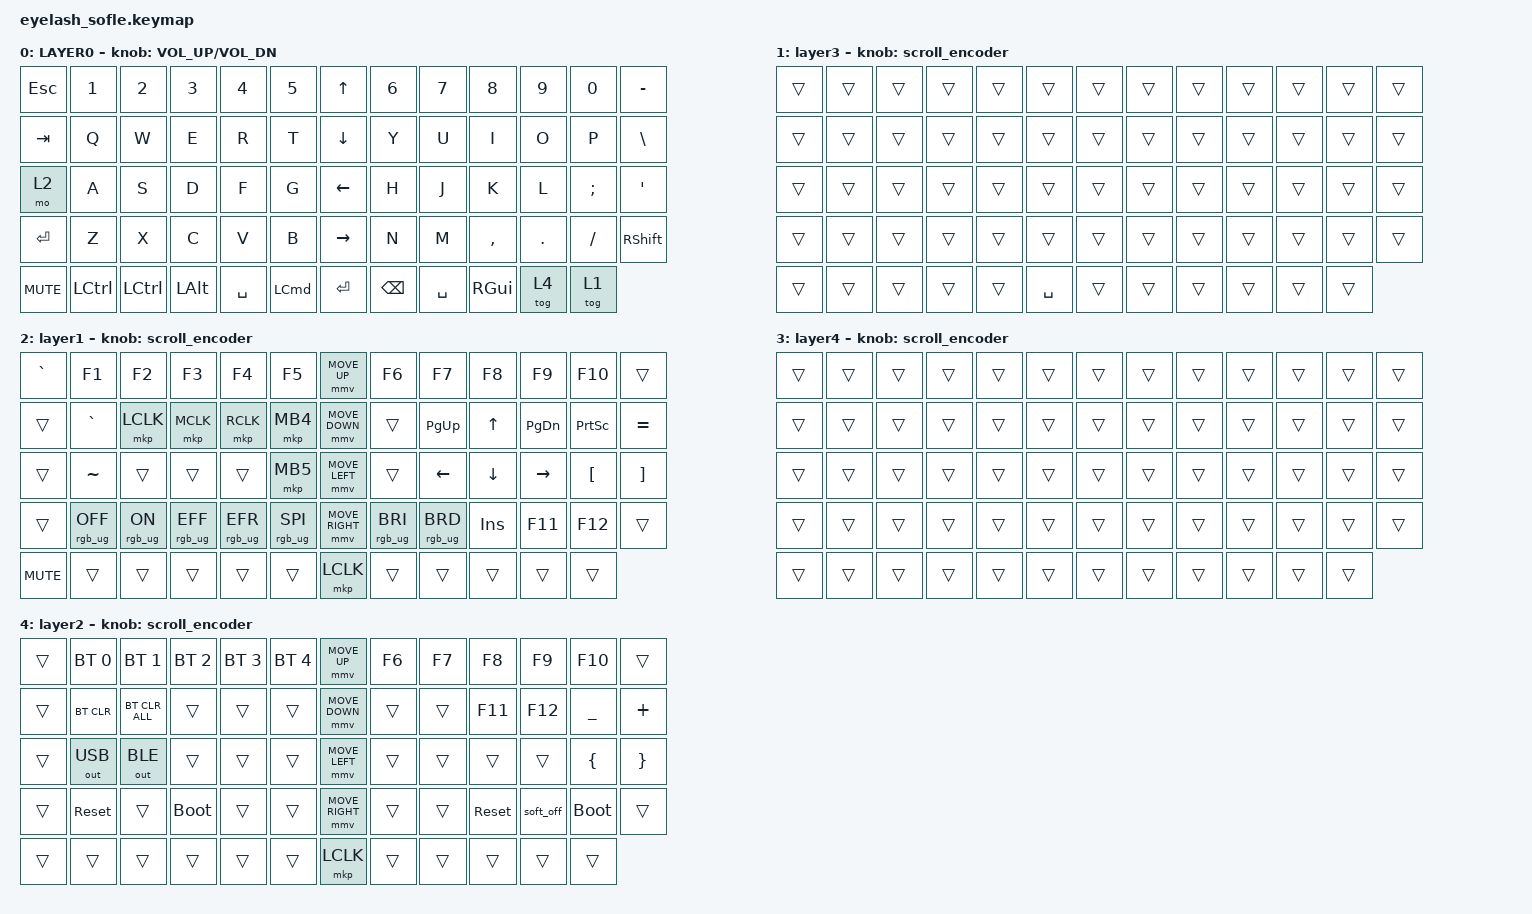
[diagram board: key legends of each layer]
#define ZMK_POINTING_DEFAULT_MOVE_VAL 1200  // 600
#define ZMK_POINTING_DEFAULT_SCRL_VAL 25   // 10

#include <input/processors.dtsi>
#include <zephyr/dt-bindings/input/input-event-codes.h>
#include <behaviors.dtsi>
#include <dt-bindings/zmk/bt.h>
#include <dt-bindings/zmk/keys.h>
#include <dt-bindings/zmk/outputs.h>
#include <dt-bindings/zmk/pointing.h>
#include <dt-bindings/zmk/rgb.h>

&mmv_input_listener { input-processors = <&zip_xy_scaler 2 1>; };

&msc_input_listener { input-processors = <&zip_scroll_scaler 2 1>; };

&msc {
    acceleration-exponent = <1>;      // 0
    time-to-max-speed-ms = <100>;       // 300
    delay-ms = <0>;                   // 0
};

&mmv {
    time-to-max-speed-ms = <500>;
    acceleration-exponent = <1>;
    trigger-period-ms = <16>;
};

&soft_off { hold-time-ms = <2000>; };

/ {
    scroll_encoder: scroll_encoder {
        compatible = "zmk,behavior-sensor-rotate";
        #sensor-binding-cells = <0>;
        bindings = <&msc SCRL_DOWN>, <&msc SCRL_UP>;

        tap-ms = <100>;
    };

    behaviors {
    };

    combos {
        compatible = "zmk,combos";

        softoff {
            bindings = <&soft_off>;
            key-positions = <14 28 40>;
        };
    };

    macros {
        SHIFT_MCLK: SHIFT_MCLK {
            compatible = "zmk,behavior-macro";
            #binding-cells = <0>;
            bindings =
                <&macro_press>,
                <&kp LEFT_SHIFT>,
                <&macro_press>,
                <&mkp MB3>,
                <&macro_pause_for_release>,
                <&macro_release>,
                <&kp LEFT_SHIFT &mkp MB3>;

            label = "SHIFT_MCLK";
        };
    };

    keymap {
        compatible = "zmk,keymap";

        default {
            bindings = <
&kp ESC     &kp N1     &kp N2     &kp N3        &kp N4     &kp N5              &kp UP_ARROW     &kp N6         &kp N7     &kp N8         &kp N9   &kp N0    &kp MINUS
&kp TAB     &kp Q      &kp W      &kp E         &kp R      &kp T               &kp DOWN_ARROW   &kp Y          &kp U      &kp I          &kp O    &kp P     &kp BSLH
&mo 2       &kp A      &kp S      &kp D         &kp F      &kp G               &kp LEFT_ARROW   &kp H          &kp J      &kp K          &kp L    &kp SEMI  &kp APOS
&kp ENTER   &kp Z      &kp X      &kp C         &kp V      &kp B               &kp RIGHT_ARROW  &kp N          &kp M      &kp COMMA      &kp DOT  &kp FSLH  &kp RIGHT_SHIFT
&kp C_MUTE  &kp LCTRL  &kp LCTRL  &kp LEFT_ALT  &kp SPACE  &kp LEFT_COMMAND    &kp ENTER        &kp BACKSPACE  &kp SPACE  &kp RIGHT_GUI  &tog 4   &tog 1
            >;

            sensor-bindings = <&inc_dec_kp C_VOLUME_UP C_VOL_DN>;
            display-name = "LAYER0";
            label = "default";
        };

        gaming {
            bindings = <
&trans  &trans  &trans  &trans  &trans  &trans       &trans  &trans  &trans  &trans  &trans  &trans  &trans
&trans  &trans  &trans  &trans  &trans  &trans       &trans  &trans  &trans  &trans  &trans  &trans  &trans
&trans  &trans  &trans  &trans  &trans  &trans       &trans  &trans  &trans  &trans  &trans  &trans  &trans
&trans  &trans  &trans  &trans  &trans  &trans       &trans  &trans  &trans  &trans  &trans  &trans  &trans
&trans  &trans  &trans  &trans  &trans  &kp SPACE    &trans  &trans  &trans  &trans  &trans  &trans
            >;

            display-name = "layer3";
            sensor-bindings = <&scroll_encoder>;
            label = "gaming";
        };

        fxn {
            bindings = <
&kp GRAVE   &kp F1           &kp F2          &kp F3           &kp F4           &kp F5             &mmv MOVE_UP     &kp F6           &kp F7           &kp F8      &kp F9     &kp F10           &trans
&trans      &kp GRAVE        &mkp LCLK       &mkp MCLK        &mkp RCLK        &mkp MB4           &mmv MOVE_DOWN   &trans           &kp PG_UP        &kp UP      &kp PG_DN  &kp PRINTSCREEN   &kp EQUAL
&trans      &kp TILDE        &trans          &trans           &trans           &mkp MB5           &mmv MOVE_LEFT   &trans           &kp LEFT         &kp DOWN    &kp RIGHT  &kp LEFT_BRACKET  &kp RIGHT_BRACKET
&trans      &rgb_ug RGB_OFF  &rgb_ug RGB_ON  &rgb_ug RGB_EFF  &rgb_ug RGB_EFR  &rgb_ug RGB_SPI    &mmv MOVE_RIGHT  &rgb_ug RGB_BRI  &rgb_ug RGB_BRD  &kp INSERT  &kp F11    &kp F12           &trans
&kp C_MUTE  &trans           &trans          &trans           &trans           &trans             &mkp LCLK        &trans           &trans           &trans      &trans     &trans
            >;

            display-name = "layer1";
            sensor-bindings = <&scroll_encoder>;
            label = "fxn";
        };

        num {
            bindings = <
&trans  &trans  &trans  &trans  &trans  &trans    &trans  &trans  &trans  &trans  &trans  &trans  &trans
&trans  &trans  &trans  &trans  &trans  &trans    &trans  &trans  &trans  &trans  &trans  &trans  &trans
&trans  &trans  &trans  &trans  &trans  &trans    &trans  &trans  &trans  &trans  &trans  &trans  &trans
&trans  &trans  &trans  &trans  &trans  &trans    &trans  &trans  &trans  &trans  &trans  &trans  &trans
&trans  &trans  &trans  &trans  &trans  &trans    &trans  &trans  &trans  &trans  &trans  &trans
            >;

            display-name = "layer4";
            sensor-bindings = <&scroll_encoder>;
            label = "num";
        };

        config {
            bindings = <
&trans  &bt BT_SEL 0  &bt BT_SEL 1    &bt BT_SEL 2  &bt BT_SEL 3  &bt BT_SEL 4    &mmv MOVE_UP     &kp F6  &kp F7  &kp F8      &kp F9     &kp F10      &trans
&trans  &bt BT_CLR    &bt BT_CLR_ALL  &trans        &trans        &trans          &mmv MOVE_DOWN   &trans  &trans  &kp F11     &kp F12    &kp UNDER    &kp PLUS
&trans  &out OUT_USB  &out OUT_BLE    &trans        &trans        &trans          &mmv MOVE_LEFT   &trans  &trans  &trans      &trans     &kp LBRC     &kp RBRC
&trans  &sys_reset    &trans          &bootloader   &trans        &trans          &mmv MOVE_RIGHT  &trans  &trans  &sys_reset  &soft_off  &bootloader  &trans
&trans  &trans        &trans          &trans        &trans        &trans          &mkp LCLK        &trans  &trans  &trans      &trans     &trans
            >;

            display-name = "layer2";
            sensor-bindings = <&scroll_encoder>;
            label = "config";
        };
    };
};
